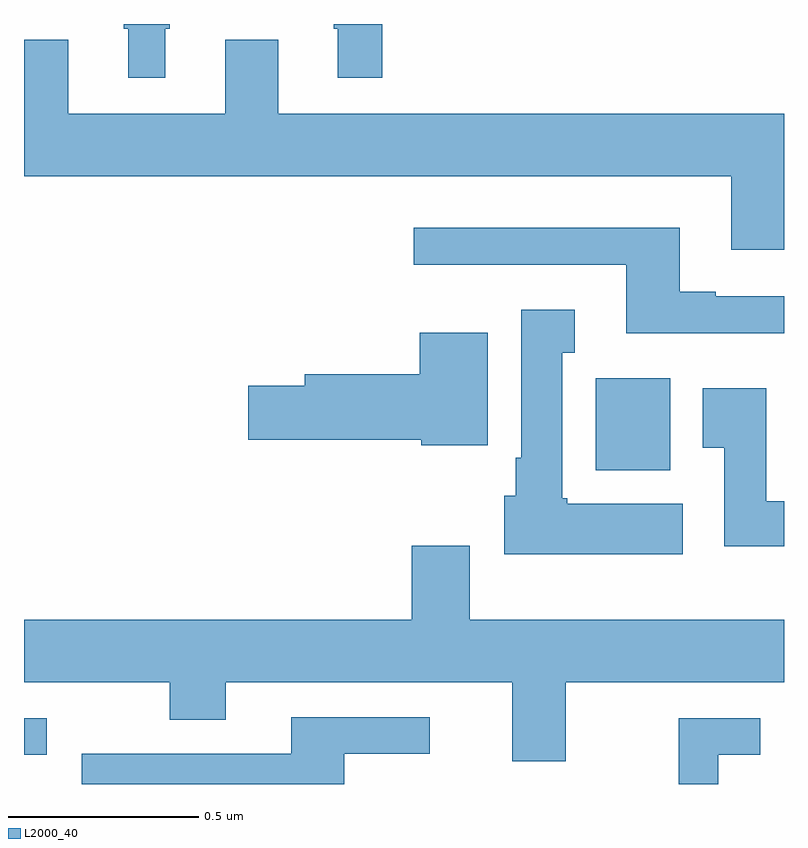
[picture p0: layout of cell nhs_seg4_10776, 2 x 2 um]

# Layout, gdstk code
import gdstk
lib = gdstk.Library(unit=1e-6, precision=1e-09)
def R(c, l, rs):  # rectangles x0, y0, x1, y1
    for r in rs: c.add(gdstk.rectangle(r[:2], r[2:], *l))
def P(c, l, *ps):  # polygons
    for p in ps: c.add(gdstk.Polygon(p, *l))
L2000_40 = (2000, 40)

nhs_seg4_10776 = lib.new_cell('nhs_seg4_10776')
R(nhs_seg4_10776, L2000_40, [(244,781.977,244.06,782.073), (245.504,782.726,245.701,782.968)])
P(nhs_seg4_10776, L2000_40, [(244.372,783.887),(244.384,783.887),(244.384,783.9),(244.263,783.9),(244.263,783.887),(244.274,783.887),(244.274,783.759),(244.372,783.759)],
  [(244.943,783.9),(244.815,783.9),(244.815,783.887),(244.826,783.887),(244.826,783.759),(244.943,783.759)],
  [(246,783.664),(244.669,783.664),(244.669,783.859),(244.529,783.859),(244.529,783.664),(244.117,783.664),(244.117,783.859),(244,783.859),(244,783.5),(245.861,783.5),(245.861,783.306),(246,783.306)],
  [(246,783.183),(245.821,783.183),(245.821,783.196),(245.725,783.196),(245.725,783.364),(245.025,783.364),(245.025,783.267),(245.585,783.267),(245.585,783.086),(246,783.086)],
  [(245.734,782.638),(245.43,782.638),(245.43,782.652),(245.416,782.652),(245.416,783.035),(245.449,783.035),(245.449,783.148),(245.309,783.148),(245.309,782.758),(245.294,782.758),(245.294,782.658),(245.264,782.658),(245.264,782.504),(245.734,782.504)],
  [(245.221,783.088),(245.042,783.088),(245.042,782.978),(244.739,782.978),(244.739,782.948),(244.59,782.948),(244.59,782.806),(245.046,782.806),(245.046,782.792),(245.221,782.792)],
  [(246,782.644),(245.953,782.644),(245.953,782.941),(245.786,782.941),(245.786,782.785),(245.843,782.785),(245.843,782.526),(246,782.526)],
  [(245.425,782.168),(246,782.168),(246,782.332),(245.173,782.332),(245.173,782.527),(245.021,782.527),(245.021,782.332),(244,782.332),(244,782.168),(244.384,782.168),(244.384,782.069),(244.531,782.069),(244.531,782.168),(245.285,782.168),(245.285,781.96),(245.425,781.96)],
  [(244.843,781.98),(245.068,781.98),(245.068,782.076),(244.703,782.076),(244.703,781.98),(244.152,781.98),(244.152,781.9),(244.843,781.9)],
  [(245.827,781.977),(245.938,781.977),(245.938,782.073),(245.723,782.073),(245.723,781.9),(245.827,781.9)])

lib.write_gds('nhs_seg4_10776.gds')
